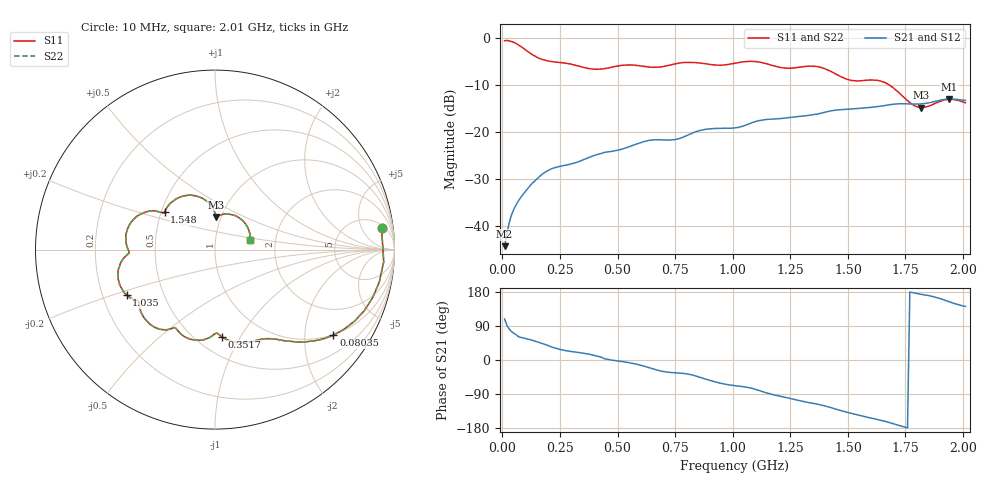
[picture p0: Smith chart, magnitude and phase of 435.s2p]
# MHz S MA R 50
!  freq  S11  S21  S12  S22
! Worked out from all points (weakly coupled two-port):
!   200 points, 10 MHz to 2.01 GHz, reference 50 ohm
!   highest |S21| = -12.95 dB at 1.94 GHz (marker M1); lowest = -44.2 dB at 10 MHz (marker M2)
!   lowest |S11| = -14.8 dB at 1.819 GHz (marker M3), VSWR 1.44, Z = 47.3 + j17.8 ohm
!   |S11| at or under -10 dB: 1.68 GHz to end of sweep
!   |S22| runs from -14.8 to -0.5 dB; largest |S21 - S12| = 0.00097
!   S11 on the Smith chart (normalised r, x): 10 MHz: 7, +12; 80.35 MHz: 0.98, -2.78; 351.7 MHz: 0.66, -0.84; 1.035 GHz: 0.30, -0.22; 1.548 GHz: 0.52, +0.25; 2.01 GHz: 1.48, +0.17
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10  0.9355 7.2  0.00614 108.3  0.00619 107.9  0.9357 7.2
20.05025  0.9423 -4.1  0.00837 91.2  0.00831 90.8  0.9428 -4.1
40.15075  0.9181 -17.0  0.01326 75.0  0.01326 75.0  0.9182 -17.0
80.35176  0.8138 -35.9  0.02031 59.6  0.02029 59.6  0.8137 -35.9
150.7035  0.6247 -53.9  0.03192 48.4  0.03191 48.3  0.6242 -53.9
211.005  0.5635 -62.4  0.04054 35.2  0.0405 35.2  0.5633 -62.4
351.7085  0.488 -85.4  0.05076 18.0  0.05081 18.0  0.4879 -85.4
532.6131  0.5158 -102.1  0.06761 -5.2  0.06754 -5.3  0.5162 -102.1
683.3668  0.4917 -117.8  0.08298 -28.3  0.08292 -28.3  0.4918 -117.7
844.1709  0.5463 -137.0  0.1017 -43.0  0.1017 -43.0  0.5459 -137.0
1015.025  0.5421 -150.4  0.1115 -68.2  0.1115 -68.0  0.5429 -150.3
1035.126  0.5535 -152.9  0.114 -69.4  0.1141 -69.5  0.5538 -153.0
1155.729  0.5252 -172.9  0.1369 -88.2  0.1366 -88.3  0.5245 -172.9
1346.683  0.502 168.5  0.1529 -114.3  0.153 -114.2  0.5023 168.7
1427.085  0.4412 151.8  0.1682 -125.7  0.1683 -125.7  0.4414 151.7
1547.688  0.3504 143.1  0.1787 -145.7  0.1789 -145.5  0.3506 143.2
1607.99  0.3578 132.4  0.1841 -154.1  0.1841 -154.1  0.3581 132.5
1678.342  0.3183 109.8  0.1952 -164.8  0.1952 -164.6  0.3181 109.8
1748.693  0.2279 92.4  0.2001 -177.4  0.2 -177.5  0.228 92.3
1819.045  0.1817 88.3  0.1995 173.1  0.1996 173.2  0.1817 88.7
1939.648  0.2227 48.9  0.2253 153.8  0.2253 153.8  0.2226 48.9
2010  0.2047 15.8  0.2177 141.3  0.2177 141.2  0.2042 15.7
